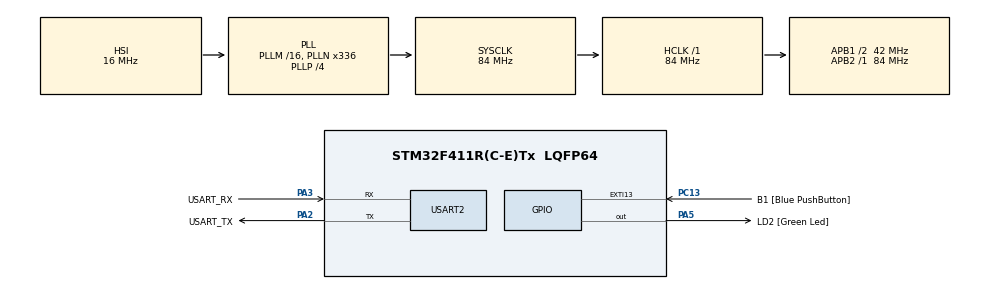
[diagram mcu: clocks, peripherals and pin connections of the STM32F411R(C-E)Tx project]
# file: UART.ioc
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Mcu.Family=STM32F4
Mcu.Name=STM32F411R(C-E)Tx
Mcu.Package=LQFP64
NVIC.PriorityGroup=NVIC_PRIORITYGROUP_0
NVIC.USART2_IRQn=true\:0\:0\:false\:false\:true\:true\:true\:true
PA13.GPIO_Label=TMS
PA13.Mode=Serial_Wire
PA13.Signal=SYS_JTMS-SWDIO
PA14.GPIO_Label=TCK
PA14.Mode=Serial_Wire
PA14.Signal=SYS_JTCK-SWCLK
PA2.GPIO_Label=USART_TX
PA2.Mode=Asynchronous
PA2.Signal=USART2_TX
PA3.GPIO_Label=USART_RX
PA3.Mode=Asynchronous
PA3.Signal=USART2_RX
PA5.GPIO_Label=LD2 [Green Led]
PA5.Signal=GPIO_Output
PB3.GPIO_Label=SWO
PB3.Signal=SYS_JTDO-SWO
PC13-ANTI_TAMP.GPIO_Label=B1 [Blue PushButton]
PC13-ANTI_TAMP.GPIO_ModeDefaultEXTI=GPIO_MODE_IT_FALLING
PC13-ANTI_TAMP.Signal=GPXTI13
PC14-OSC32_IN.Mode=LSE-External-Oscillator
PC14-OSC32_IN.Signal=RCC_OSC32_IN
PC15-OSC32_OUT.Mode=LSE-External-Oscillator
PC15-OSC32_OUT.Signal=RCC_OSC32_OUT
PH0\ -\ OSC_IN.Mode=HSE-External-Clock-Source
PH0\ -\ OSC_IN.Signal=RCC_OSC_IN
PH1\ -\ OSC_OUT.Mode=HSE-External-Clock-Source
PH1\ -\ OSC_OUT.Signal=RCC_OSC_OUT
ProjectManager.HeapSize=0x200
ProjectManager.StackSize=0x400
ProjectManager.TargetToolchain=STM32CubeIDE
RCC.48MHZClocksFreq_Value=84000000
RCC.AHBFreq_Value=84000000
RCC.APB1CLKDivider=RCC_HCLK_DIV2
RCC.APB1Freq_Value=42000000
RCC.APB1TimFreq_Value=84000000
RCC.APB2Freq_Value=84000000
RCC.APB2TimFreq_Value=84000000
RCC.CortexFreq_Value=84000000
RCC.FLatency-AdvancedSettings=FLASH_LATENCY_2
RCC.HCLKFreq_Value=84000000
RCC.HSE_VALUE=8000000
RCC.HSI_VALUE=16000000
RCC.PLLN=336
RCC.PLLP=RCC_PLLP_DIV4
RCC.SYSCLKFreq_VALUE=84000000
RCC.SYSCLKSource=RCC_SYSCLKSOURCE_PLLCLK
RCC.VCOOutputFreq_Value=336000000
USART2.VirtualMode=VM_ASYNC
USART2.WordLength=WORDLENGTH_8B
board=NUCLEO-F411RE

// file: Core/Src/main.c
/* USER CODE BEGIN Header */
/**
  ******************************************************************************
  * @file           : main.c
  * @brief          : Main program body
  ******************************************************************************
  * @attention
  *
  * Copyright (c) 2024 STMicroelectronics.
  * All rights reserved.
  *
  * This software is licensed under terms that can be found in the LICENSE file
  * in the root directory of this software component.
  * If no LICENSE file comes with this software, it is provided AS-IS.
  *
  ******************************************************************************
  */
/* USER CODE END Header */
#include "main.h"

/* USER CODE BEGIN Includes */
#include <stdio.h>
#include <stdbool.h>
#include <string.h>
/* USER CODE END Includes */

UART_HandleTypeDef huart2;

void SystemClock_Config(void);
static void MX_GPIO_Init(void);
static void MX_USART2_UART_Init(void);

/* USER CODE BEGIN 0 */
char tx_buff[]= "Scrivi al massimo 6 caratteri e poi premi invio\n"; // array, not a "const char pointer"
char msg[10];
uint8_t rx_buff[7];
volatile bool ok = false;
volatile bool toggle = false;
bool last = false;
/* USER CODE END 0 */

int main(void)
{

  /* MCU Configuration--------------------------------------------------------*/

  /* Reset of all peripherals, Initializes the Flash interface and the Systick. */
  HAL_Init();

  /* Configure the system clock */
  SystemClock_Config();

  /* Initialize all configured peripherals */
  MX_GPIO_Init();
  MX_USART2_UART_Init();
  /* USER CODE BEGIN 2 */
  HAL_UART_Transmit_IT(&huart2, (const uint8_t*)tx_buff, sizeof(tx_buff)); // or strlen(tx_buff) if tx_buff is a "const char pointer"
  HAL_UART_Receive_IT(&huart2, rx_buff, 7);
  /* USER CODE END 2 */

  /* Infinite loop */
  while (1)
  {

    /* USER CODE BEGIN 3 */
	  if (toggle != last){
		HAL_GPIO_TogglePin(LD2_GPIO_Port, LD2_Pin);
		last = toggle;
	  }
	  if (ok)
	  {
		  sprintf(msg, "%s\n", "ok");
		  HAL_UART_Transmit_IT(&huart2, (const uint8_t*)msg, 10);
		  ok = false;
	  }
  }
  /* USER CODE END 3 */
}

void SystemClock_Config(void)
{
  RCC_OscInitTypeDef RCC_OscInitStruct = {0};
  RCC_ClkInitTypeDef RCC_ClkInitStruct = {0};

  /** Configure the main internal regulator output voltage
  */
  __HAL_RCC_PWR_CLK_ENABLE();
  __HAL_PWR_VOLTAGESCALING_CONFIG(PWR_REGULATOR_VOLTAGE_SCALE1);

  /** Initializes the RCC Oscillators according to the specified parameters
  * in the RCC_OscInitTypeDef structure.
  */
  RCC_OscInitStruct.OscillatorType = RCC_OSCILLATORTYPE_HSI;
  RCC_OscInitStruct.HSIState = RCC_HSI_ON;
  RCC_OscInitStruct.HSICalibrationValue = RCC_HSICALIBRATION_DEFAULT;
  RCC_OscInitStruct.PLL.PLLState = RCC_PLL_ON;
  RCC_OscInitStruct.PLL.PLLSource = RCC_PLLSOURCE_HSI;
  RCC_OscInitStruct.PLL.PLLM = 16;
  RCC_OscInitStruct.PLL.PLLN = 336;
  RCC_OscInitStruct.PLL.PLLP = RCC_PLLP_DIV4;
  RCC_OscInitStruct.PLL.PLLQ = 4;
  if (HAL_RCC_OscConfig(&RCC_OscInitStruct) != HAL_OK)
  {
    Error_Handler();
  }

  /** Initializes the CPU, AHB and APB buses clocks
  */
  RCC_ClkInitStruct.ClockType = RCC_CLOCKTYPE_HCLK|RCC_CLOCKTYPE_SYSCLK
                              |RCC_CLOCKTYPE_PCLK1|RCC_CLOCKTYPE_PCLK2;
  RCC_ClkInitStruct.SYSCLKSource = RCC_SYSCLKSOURCE_PLLCLK;
  RCC_ClkInitStruct.AHBCLKDivider = RCC_SYSCLK_DIV1;
  RCC_ClkInitStruct.APB1CLKDivider = RCC_HCLK_DIV2;
  RCC_ClkInitStruct.APB2CLKDivider = RCC_HCLK_DIV1;

  if (HAL_RCC_ClockConfig(&RCC_ClkInitStruct, FLASH_LATENCY_2) != HAL_OK)
  {
    Error_Handler();
  }
}

static void MX_USART2_UART_Init(void)
{

  huart2.Instance = USART2;
  huart2.Init.BaudRate = 115200;
  huart2.Init.WordLength = UART_WORDLENGTH_8B;
  huart2.Init.StopBits = UART_STOPBITS_1;
  huart2.Init.Parity = UART_PARITY_NONE;
  huart2.Init.Mode = UART_MODE_TX_RX;
  huart2.Init.HwFlowCtl = UART_HWCONTROL_NONE;
  huart2.Init.OverSampling = UART_OVERSAMPLING_16;
  if (HAL_UART_Init(&huart2) != HAL_OK)
  {
    Error_Handler();
  }

}

static void MX_GPIO_Init(void)
{
  GPIO_InitTypeDef GPIO_InitStruct = {0};

  /* GPIO Ports Clock Enable */
  __HAL_RCC_GPIOC_CLK_ENABLE();
  __HAL_RCC_GPIOH_CLK_ENABLE();
  __HAL_RCC_GPIOA_CLK_ENABLE();
  __HAL_RCC_GPIOB_CLK_ENABLE();

  /*Configure GPIO pin Output Level */
  HAL_GPIO_WritePin(LD2_GPIO_Port, LD2_Pin, GPIO_PIN_RESET);

  /*Configure GPIO pin : B1_Pin */
  GPIO_InitStruct.Pin = B1_Pin;
  GPIO_InitStruct.Mode = GPIO_MODE_IT_FALLING;
  GPIO_InitStruct.Pull = GPIO_NOPULL;
  HAL_GPIO_Init(B1_GPIO_Port, &GPIO_InitStruct);

  /*Configure GPIO pin : LD2_Pin */
  GPIO_InitStruct.Pin = LD2_Pin;
  GPIO_InitStruct.Mode = GPIO_MODE_OUTPUT_PP;
  GPIO_InitStruct.Pull = GPIO_NOPULL;
  GPIO_InitStruct.Speed = GPIO_SPEED_FREQ_LOW;
  HAL_GPIO_Init(LD2_GPIO_Port, &GPIO_InitStruct);

}

/* USER CODE BEGIN 4 */
void HAL_UART_RxCpltCallback(UART_HandleTypeDef *huart)
{
  if (strstr((char*)rx_buff, "toggle") != NULL)
  {
	  toggle = !toggle;
  }
  ok = true;
  HAL_UART_Receive_IT(&huart2, rx_buff, 7);
}
/* USER CODE END 4 */

void Error_Handler(void)
{
  __disable_irq();
  while (1)
  {
  }
}
